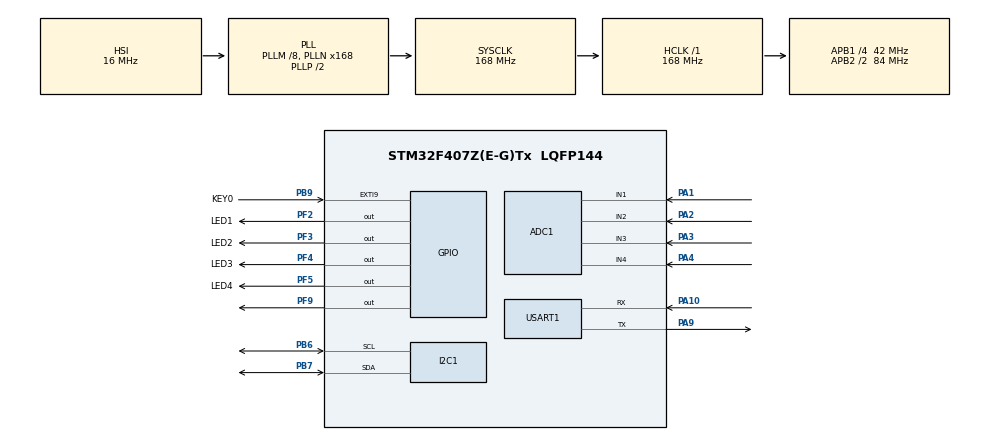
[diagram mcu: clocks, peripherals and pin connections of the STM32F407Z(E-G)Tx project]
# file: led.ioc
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ADC1.Channel-0\#ChannelRegularConversion=ADC_CHANNEL_1
ADC1.Channel-1\#ChannelRegularConversion=ADC_CHANNEL_2
ADC1.Channel-2\#ChannelRegularConversion=ADC_CHANNEL_3
ADC1.Channel-3\#ChannelRegularConversion=ADC_CHANNEL_4
ADC1.ClockPrescaler=ADC_CLOCK_SYNC_PCLK_DIV6
ADC1.ContinuousConvMode=ENABLE
ADC1.DMAContinuousRequests=ENABLE
ADC1.NbrOfConversion=4
ADC1.NbrOfConversionFlag=1
ADC1.Rank-0\#ChannelRegularConversion=1
ADC1.Rank-1\#ChannelRegularConversion=2
ADC1.Rank-2\#ChannelRegularConversion=3
ADC1.Rank-3\#ChannelRegularConversion=4
ADC1.SamplingTime-0\#ChannelRegularConversion=ADC_SAMPLETIME_28CYCLES
ADC1.SamplingTime-1\#ChannelRegularConversion=ADC_SAMPLETIME_28CYCLES
ADC1.SamplingTime-2\#ChannelRegularConversion=ADC_SAMPLETIME_28CYCLES
ADC1.SamplingTime-3\#ChannelRegularConversion=ADC_SAMPLETIME_28CYCLES
ADC1.master=1
Dma.ADC1.0.Direction=DMA_PERIPH_TO_MEMORY
Dma.ADC1.0.FIFOMode=DMA_FIFOMODE_DISABLE
Dma.ADC1.0.Instance=DMA2_Stream0
Dma.ADC1.0.MemDataAlignment=DMA_MDATAALIGN_WORD
Dma.ADC1.0.MemInc=DMA_MINC_ENABLE
Dma.ADC1.0.Mode=DMA_CIRCULAR
Dma.ADC1.0.PeriphDataAlignment=DMA_PDATAALIGN_WORD
Dma.ADC1.0.PeriphInc=DMA_PINC_DISABLE
Dma.ADC1.0.Priority=DMA_PRIORITY_LOW
Dma.Request0=ADC1
Mcu.Family=STM32F4
Mcu.Name=STM32F407Z(E-G)Tx
Mcu.Package=LQFP144
NVIC.DMA2_Stream0_IRQn=true\:0\:0\:false\:false\:true\:false\:true\:true
NVIC.EXTI9_5_IRQn=true\:14\:0\:true\:false\:true\:true\:true\:true
NVIC.PriorityGroup=NVIC_PRIORITYGROUP_4
NVIC.TIM1_UP_TIM10_IRQn=true\:0\:0\:false\:false\:true\:true\:true\:true
PA1.Signal=ADCx_IN1
PA10.Mode=Asynchronous
PA10.Signal=USART1_RX
PA13.Mode=Serial_Wire
PA13.Signal=SYS_JTMS-SWDIO
PA14.Mode=Serial_Wire
PA14.Signal=SYS_JTCK-SWCLK
PA2.Signal=ADCx_IN2
PA3.Signal=ADCx_IN3
PA4.Signal=ADCx_IN4
PA9.Mode=Asynchronous
PA9.Signal=USART1_TX
PB6.GPIO_Pu=GPIO_PULLUP
PB6.Mode=I2C
PB6.Signal=I2C1_SCL
PB7.GPIO_Pu=GPIO_PULLUP
PB7.Mode=I2C
PB7.Signal=I2C1_SDA
PB9.GPIO_Label=KEY0
PB9.GPIO_ModeDefaultEXTI=GPIO_MODE_IT_FALLING
PB9.GPIO_PuPd=GPIO_PULLUP
PB9.Signal=GPXTI9
PF2.GPIO_Label=LED1
PF2.GPIO_PuPd=GPIO_PULLDOWN
PF2.Signal=GPIO_Output
PF3.GPIO_Label=LED2
PF3.GPIO_PuPd=GPIO_PULLDOWN
PF3.Signal=GPIO_Output
PF4.GPIO_Label=LED3
PF4.GPIO_PuPd=GPIO_PULLDOWN
PF4.Signal=GPIO_Output
PF5.GPIO_Label=LED4
PF5.GPIO_PuPd=GPIO_PULLDOWN
PF5.Signal=GPIO_Output
PF9.GPIO_PuPd=GPIO_NOPULL
PF9.Signal=GPIO_Output
PH0-OSC_IN.Mode=HSE-External-Oscillator
PH0-OSC_IN.Signal=RCC_OSC_IN
PH1-OSC_OUT.Mode=HSE-External-Oscillator
PH1-OSC_OUT.Signal=RCC_OSC_OUT
ProjectManager.HeapSize=0x200
ProjectManager.StackSize=0x400
ProjectManager.TargetToolchain=MDK-ARM V5.32
RCC.48MHZClocksFreq_Value=84000000
RCC.AHBFreq_Value=168000000
RCC.APB1CLKDivider=RCC_HCLK_DIV4
RCC.APB1Freq_Value=42000000
RCC.APB1TimFreq_Value=84000000
RCC.APB2CLKDivider=RCC_HCLK_DIV2
RCC.APB2Freq_Value=84000000
RCC.APB2TimFreq_Value=168000000
RCC.CortexFreq_Value=168000000
RCC.HCLKFreq_Value=168000000
RCC.HSE_VALUE=25000000
RCC.HSI_VALUE=16000000
RCC.LSE_VALUE=32768
RCC.PLLM=8
RCC.PLLN=168
RCC.SYSCLKFreq_VALUE=168000000
RCC.SYSCLKSource=RCC_SYSCLKSOURCE_PLLCLK
RCC.VCOOutputFreq_Value=336000000
SH.ADCx_IN1.0=ADC1_IN1,IN1
SH.ADCx_IN2.0=ADC1_IN2,IN2
SH.ADCx_IN3.0=ADC1_IN3,IN3
SH.ADCx_IN4.0=ADC1_IN4,IN4
TIM1.AutoReloadPreload=TIM_AUTORELOAD_PRELOAD_ENABLE
TIM1.Period=10-1
TIM1.Prescaler=168-1
USART1.VirtualMode=VM_ASYNC
VP_TIM1_VS_ClockSourceINT.Mode=Internal
board=custom

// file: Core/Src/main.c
/* USER CODE BEGIN Header */
/**
  ******************************************************************************
  * @file           : main.c
  * @brief          : Main program body
  ******************************************************************************
  * @attention
  *
  * Copyright (c) 2023 STMicroelectronics.
  * All rights reserved.
  *
  * This software is licensed under terms that can be found in the LICENSE file
  * in the root directory of this software component.
  * If no LICENSE file comes with this software, it is provided AS-IS.
  *
  ******************************************************************************
  */
/* USER CODE END Header */
#include "main.h"
#include "adc.h"
#include "dma.h"
#include "i2c.h"
#include "tim.h"
#include "usart.h"
#include "gpio.h"

/* USER CODE BEGIN Includes */
#include "stdio.h"
#include "string.h"
#include "exti.h"
#include "stdlib.h"
#include "TDOA.h"
#include "oled.h"
#include "math.h"
/* USER CODE END Includes */

/* USER CODE BEGIN PD */
#define LENGTH 30
/* USER CODE END PD */

/* USER CODE BEGIN PV */
uint8_t key=0;
uint8_t str[10];

extern DMA_HandleTypeDef hdma_adc1;

uint32_t a1[4];
uint64_t T_count;

uint8_t x[16];
uint8_t y[16];
/* USER CODE END PV */

void SystemClock_Config(void);

int main(void)
{

  /* MCU Configuration--------------------------------------------------------*/

  /* Reset of all peripherals, Initializes the Flash interface and the Systick. */
  HAL_Init();

  /* Configure the system clock */
  SystemClock_Config();

  /* Initialize all configured peripherals */
  MX_GPIO_Init();
  MX_DMA_Init();
  MX_I2C1_Init();
  MX_USART1_UART_Init();
  MX_TIM1_Init();
  MX_ADC1_Init();
  /* USER CODE BEGIN 2 */

	TDOA_Init(&TDOA_S);

	HAL_TIM_Base_Start_IT(&htim1);

    HAL_ADC_Start_DMA(&hadc1,(uint32_t*)&a1,(uint32_t)4);//ADC数据采集
    MIT_init();

    HAL_Delay(200);
    uint8_t A[]="x:";
    uint8_t B[]="y:";

	uint8_t x[]="--------------->";
	uint8_t y1[]="^";
    uint8_t y[]="|";

  OLED_Display_On();
  OLED_Clear();
  OLED_Init();
  OLED_ShowString(0,0,A,sizeof(A));
  OLED_ShowString(0,6,B,sizeof(B));

  OLED_ShowString(0,4,x,sizeof(x));
  OLED_ShowString(10*6,0,y1,sizeof(y1));
  OLED_ShowString(10*6,1,y,sizeof(y));
  OLED_ShowString(10*6,2,y,sizeof(y));
  OLED_ShowString(10*6,3,y,sizeof(y));
  OLED_ShowString(10*6,4,y,sizeof(y));
  OLED_ShowString(10*6,5,y,sizeof(y));
  OLED_ShowString(10*6,6,y,sizeof(y));

  HAL_Delay(500);

  /* USER CODE END 2 */

  /* Infinite loop */
  while (1)
  {

    /* USER CODE BEGIN 3 */
		//4个模块都接收到声音，显示坐标并更新
	if(MIT1_S.mit_flag&&MIT2_S.mit_flag&&MIT3_S.mit_flag&&MIT4_S.mit_flag)
		{
			TDOA_Get_distanceANDangle(&TDOA_S);
			sprintf((char*)x,"%.2f",TDOA_S.x);
            sprintf((char*)y,"%.2f",TDOA_S.y);

			OLED_ShowString(10*8,0,x,16);
			OLED_ShowString(10*8,6,y,16);

			HAL_Delay(500);
			T_count=0;//清空计时器
			//四个标志位置零
			MIT1_S.mit_flag=0;
			MIT2_S.mit_flag=0;
			MIT3_S.mit_flag=0;
			MIT4_S.mit_flag=0;
		}

  }

  /* USER CODE END 3 */
}

void SystemClock_Config(void)
{
  RCC_OscInitTypeDef RCC_OscInitStruct = {0};
  RCC_ClkInitTypeDef RCC_ClkInitStruct = {0};

  /** Configure the main internal regulator output voltage
  */
  __HAL_RCC_PWR_CLK_ENABLE();
  __HAL_PWR_VOLTAGESCALING_CONFIG(PWR_REGULATOR_VOLTAGE_SCALE1);

  /** Initializes the RCC Oscillators according to the specified parameters
  * in the RCC_OscInitTypeDef structure.
  */
  RCC_OscInitStruct.OscillatorType = RCC_OSCILLATORTYPE_HSI;
  RCC_OscInitStruct.HSIState = RCC_HSI_ON;
  RCC_OscInitStruct.HSICalibrationValue = RCC_HSICALIBRATION_DEFAULT;
  RCC_OscInitStruct.PLL.PLLState = RCC_PLL_ON;
  RCC_OscInitStruct.PLL.PLLSource = RCC_PLLSOURCE_HSI;
  RCC_OscInitStruct.PLL.PLLM = 8;
  RCC_OscInitStruct.PLL.PLLN = 168;
  RCC_OscInitStruct.PLL.PLLP = RCC_PLLP_DIV2;
  RCC_OscInitStruct.PLL.PLLQ = 4;
  if (HAL_RCC_OscConfig(&RCC_OscInitStruct) != HAL_OK)
  {
    Error_Handler();
  }

  /** Initializes the CPU, AHB and APB buses clocks
  */
  RCC_ClkInitStruct.ClockType = RCC_CLOCKTYPE_HCLK|RCC_CLOCKTYPE_SYSCLK
                              |RCC_CLOCKTYPE_PCLK1|RCC_CLOCKTYPE_PCLK2;
  RCC_ClkInitStruct.SYSCLKSource = RCC_SYSCLKSOURCE_PLLCLK;
  RCC_ClkInitStruct.AHBCLKDivider = RCC_SYSCLK_DIV1;
  RCC_ClkInitStruct.APB1CLKDivider = RCC_HCLK_DIV4;
  RCC_ClkInitStruct.APB2CLKDivider = RCC_HCLK_DIV2;

  if (HAL_RCC_ClockConfig(&RCC_ClkInitStruct, FLASH_LATENCY_5) != HAL_OK)
  {
    Error_Handler();
  }
}

/* USER CODE BEGIN 4 */
		//根据ADC收集4个模块接收到声音的时间
	void HAL_TIM_PeriodElapsedCallback(TIM_HandleTypeDef *htim)
	{
		if(htim->Instance == TIM1)
		{
          if(a1[0]>3600&&MIT1_S.mit_flag==0){

            MIT1_S.mit_count= T_count;
			MIT1_S.mit_flag=1;
             }
          else if(a1[1]>3600&&MIT2_S.mit_flag==0){

             MIT2_S.mit_count= T_count;
			 MIT2_S.mit_flag=1;
            }
          else if(a1[2]>3600&&MIT3_S.mit_flag==0){

             MIT3_S.mit_count= T_count;
			             MIT3_S.mit_flag=1;
            }
		  else if(a1[3]>3600&&MIT4_S.mit_flag==0){

             MIT4_S.mit_count= T_count;
			 MIT4_S.mit_flag=1;
            }

		    T_count++;
		}
}
/* USER CODE END 4 */

void Error_Handler(void)
{
  __disable_irq();
  while (1)
  {
  }
}
